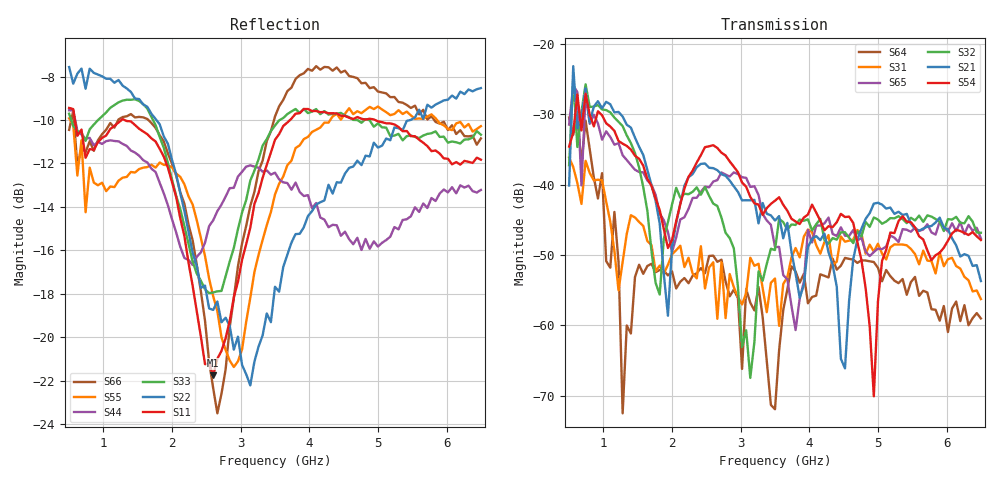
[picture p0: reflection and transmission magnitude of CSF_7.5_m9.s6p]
!Keysight Technologies,M9804A,MY58100912,A.14.10.03
!Date: Thursday, April 27, 2023 10:28:33
!Correction: S11(C  6-Port  )
!S12(C  6-Port  )
!S13(C  6-Port  )
!S14(C  6-Port  )
!S15(C  6-Port  )
!S16(C  6-Port  )
!S21(C  6-Port  )
!S22(C  6-Port  )
!S23(C  6-Port  )
!S24(C  6-Port  )
!S25(C  6-Port  )
!S26(C  6-Port  )
!S31(C  6-Port  )
!S32(C  6-Port  )
!S33(C  6-Port  )
!S34(C  6-Port  )
!S35(C  6-Port  )
!S36(C  6-Port  )
!S41(C  6-Port  )
!S42(C  6-Port  )
!S43(C  6-Port  )
!S44(C  6-Port  )
!S45(C  6-Port  )
!S46(C  6-Port  )
!S51(C  6-Port  )
!S52(C  6-Port  )
!S53(C  6-Port  )
!S54(C  6-Port  )
!S55(C  6-Port  )
!S56(C  6-Port  )
!S61(C  6-Port  )
!S62(C  6-Port  )
!S63(C  6-Port  )
!S64(C  6-Port  )
!S65(C  6-Port  )
!S66(C  6-Port  )
!S6P File: Measurement: :
# Hz S  RI  R 50
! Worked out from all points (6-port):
!   101 points, 500 MHz to 6.5 GHz, reference 50 ohm
!   strongest paths, dB at 500 MHz, 2 GHz, 3.5 GHz, 5 GHz, 6.5 GHz:
!     S54: -34.6, -47.8, -42.3, -56.6, -47.9
!     S21: -40.1, -48.8, -45.1, -42.6, -53.7
!     S32: -37.2, -42.8, -49.3, -44.9, -46.8
!     S65: -31.4, -49.6, -48.9, -49.1, -47.6
!     S31: -36.1, -49.9, -53.3, -48.4, -56.3
!     S64: -30.4, -52.3, -71.9, -51.8, -59.0
!   lowest |S11| = -21.8 dB at 2.6 GHz (marker M1), VSWR 1.18, Z = 42.7 + j1.96 ohm
!   |S11| at or under -10 dB: 584.7 MHz to 1.264 GHz (679 MHz wide, 73.5 % of centre); 1.309 GHz to 3.718 GHz (2.409 GHz wide, 95.8 % of centre); 4.96 GHz to end of sweep
